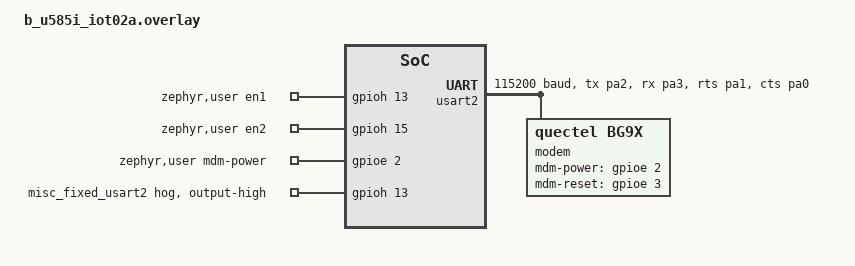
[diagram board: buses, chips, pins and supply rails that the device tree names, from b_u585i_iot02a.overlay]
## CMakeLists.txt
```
# Copyright (c) 2023 Trackunit Corporation
# SPDX-License-Identifier: Apache-2.0

cmake_minimum_required(VERSION 3.20.0)
find_package(Zephyr REQUIRED HINTS $ENV{ZEPHYR_BASE})
project(modem_e2e_test)

target_sources(app PRIVATE src/main.c)
```

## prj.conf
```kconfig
# Copyright (c) 2023 Trackunit Corporation
# SPDX-License-Identifier: Apache-2.0

CONFIG_ZTEST=y
CONFIG_ZTEST_NEW_API=y

CONFIG_ASSERT=y

# Networking
CONFIG_NETWORKING=y
CONFIG_NET_NATIVE=y
CONFIG_NET_L2_PPP=y
CONFIG_NET_IPV4=y
CONFIG_NET_UDP=y
CONFIG_NET_SOCKETS=y
CONFIG_POSIX_MAX_FDS=8

# Logging
CONFIG_LOG=y
CONFIG_LOG_DEFAULT_LEVEL=3

# Network management
CONFIG_NET_MGMT=y
CONFIG_NET_MGMT_EVENT=y
CONFIG_NET_CONNECTION_MANAGER=y

CONFIG_MODEM=y
CONFIG_MODEM_MODULES=y
CONFIG_MODEM_CELLULAR_APN="trackunit.m2m"

CONFIG_GPIO=y
CONFIG_UART_STM32=y
CONFIG_UART_INTERRUPT_DRIVEN=y
CONFIG_UART_ASYNC_API=y
```

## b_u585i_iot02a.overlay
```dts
/ {
	aliases {
		modem-uart = &usart2;
		modem = &modem;
	};

	zephyr,user {
		en1-gpios = <&gpioh 13 GPIO_ACTIVE_HIGH>;
		en2-gpios = <&gpioh 15 GPIO_ACTIVE_HIGH>;
		mdm-power-gpios = <&gpioe 2 GPIO_ACTIVE_HIGH>;
	};
};

&gpioh {
	misc_fixed_usart2 {
		gpio-hog;
		gpios = <13 GPIO_ACTIVE_HIGH>;
		output-high;
	};
};

&gpdma1 {
	status = "okay";
};

/* BG95 */
&usart2 {
	pinctrl-0 = <&usart2_tx_pa2 &usart2_rx_pa3 &usart2_rts_pa1 &usart2_cts_pa0>;
	pinctrl-names = "default";
	current-speed = <115200>;
	hw-flow-control;

	dmas = <&gpdma1 0 27 STM32_DMA_PERIPH_TX
		&gpdma1 1 26 STM32_DMA_PERIPH_RX>;
	dma-names = "tx", "rx";

	status = "okay";

	modem: modem {
		compatible = "quectel,bg9x";
		mdm-power-gpios = <&gpioe 2 GPIO_ACTIVE_HIGH>;
		mdm-reset-gpios = <&gpioe 3 GPIO_ACTIVE_HIGH>;
		status = "okay";
	};
};
```

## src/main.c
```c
/*
 * Copyright (c) 2022 Trackunit Corporation
 *
 * SPDX-License-Identifier: Apache-2.0
 */

/*************************************************************************************************/
/*                                        Dependencies                                           */
/*************************************************************************************************/
#include <zephyr/ztest.h>
#include <zephyr/kernel.h>
#include <zephyr/net/ppp.h>
#include <zephyr/net/socket.h>
#include <zephyr/net/net_if.h>

#include <string.h>

/*************************************************************************************************/
/*                                         Definitions                                           */
/*************************************************************************************************/
#warning "Configure the following before running the test"
#define TEST_MODEM_E2E_SERVER_IP_ADDR ""

#define TEST_MODEM_E2E_SERVER_UPLOAD_PORT	(7777)
#define TEST_MODEM_E2E_SERVER_ECHO_PORT		(7778)
#define TEST_MODEM_E2E_SERVER_DOWNLOAD_PORT	(7779)

#define TEST_MODEM_E2E_TEST_PKT_CNT		(100)
#define TEST_MODEM_E2E_TEST_PKT_SIZE		(1024)

/*************************************************************************************************/
/*                             Psudo random packet datagenerator                                 */
/*************************************************************************************************/
static uint8_t test_packet_data[TEST_MODEM_E2E_TEST_PKT_SIZE];
static uint32_t prng_state = 1234;
static uint8_t recv_buf[TEST_MODEM_E2E_TEST_PKT_SIZE];

static uint8_t test_modem_e2e_prng_random(void)
{
	prng_state = ((1103515245 * prng_state) + 12345) % (1U << 31);

	return (uint8_t)(prng_state & 0xFF);
}

static void test_modem_e2e_init_test_packet_data(void)
{
	for (size_t i = 0; i < sizeof(test_packet_data); i++) {
		test_packet_data[i] = test_modem_e2e_prng_random();
	}
}

static bool test_modem_e2e_validate_recv_buf(void)
{
	for (size_t i = 0; i < sizeof(test_packet_data); i++) {
		if (test_packet_data[i] != recv_buf[i]) {
			return false;
		}
	}

	return true;
}

static int socket_fd;
static struct sockaddr_in socket_addr;

/*************************************************************************************************/
/*                                         Test setup                                            */
/*************************************************************************************************/
static void *test_modem_e2e_setup(void)
{
	uint32_t raised_event;
	const void *info;
	size_t info_len;
	int ret;

	printk("Waiting for L4 connected\n");

	ret = net_mgmt_event_wait_on_iface(net_if_get_first_by_type(&NET_L2_GET_NAME(PPP)),
					   NET_EVENT_L4_CONNECTED, &raised_event, &info,
					   &info_len, K_SECONDS(30));

	__ASSERT(ret == 0, "L4 was not connected in time");

	test_modem_e2e_init_test_packet_data();

	printk("Opening socket\n");

	socket_fd = zsock_socket(AF_INET, SOCK_DGRAM, IPPROTO_UDP);

	__ASSERT_NO_MSG(socket_fd > -1);

	printk("Socket opened\n");

	return NULL;
}

static void test_modem_e2e_socket_set_destination(const char *addr, int16_t port)
{
	memset(&socket_addr, 0, sizeof(socket_addr));

	socket_addr.sin_family = AF_INET;
	socket_addr.sin_port = htons(port);
	zsock_inet_pton(AF_INET, addr, &socket_addr.sin_addr);
}

static bool test_modem_e2e_socket_send(void)
{
	int ret = zsock_sendto(socket_fd, test_packet_data, sizeof(test_packet_data), 0,
			       (struct sockaddr *)&socket_addr, sizeof(socket_addr));

	return (ret == sizeof(test_packet_data));
}

static bool test_modem_e2e_socket_recv(void)
{
	int ret = zsock_recv(socket_fd, recv_buf, sizeof(recv_buf), 0);

	return ret == sizeof(recv_buf);
}

/*************************************************************************************************/
/*                                             Tests                                             */
/*************************************************************************************************/
ZTEST(modem_e2e, send)
{
	test_modem_e2e_socket_set_destination(TEST_MODEM_E2E_SERVER_IP_ADDR,
					      TEST_MODEM_E2E_SERVER_UPLOAD_PORT);

	for (size_t i = 0; i < TEST_MODEM_E2E_TEST_PKT_CNT; i++) {
		zassert_true(test_modem_e2e_socket_send(),
			     "Failed to send test packet data");

		printk("sent %u frame\n", (i + 1));
	}
}

ZTEST(modem_e2e, echo)
{
	test_modem_e2e_socket_set_destination(TEST_MODEM_E2E_SERVER_IP_ADDR,
					      TEST_MODEM_E2E_SERVER_ECHO_PORT);

	for (size_t i = 0; i < TEST_MODEM_E2E_TEST_PKT_CNT; i++) {
		zassert_true(test_modem_e2e_socket_send(),
			     "Failed to send test packet data");

		printk("sent %u frame\n", (i + 1));

		zassert_true(test_modem_e2e_socket_recv(), "Failed to receive packet");

		zassert_true(test_modem_e2e_validate_recv_buf(), "Invalid packet data received");

		printk("received %u frames\n", (i + 1));
	}
}

ZTEST(modem_e2e, download)
{
	uint32_t uptime;

	test_modem_e2e_socket_set_destination(TEST_MODEM_E2E_SERVER_IP_ADDR,
					      TEST_MODEM_E2E_SERVER_DOWNLOAD_PORT);

	zassert_true(test_modem_e2e_socket_send(),
			"Failed to send test packet data");

	for (size_t i = 0; i < TEST_MODEM_E2E_TEST_PKT_CNT; i++) {
		uptime = k_uptime_get_32();
		printk("wait for frame\n");
		zassert_true(test_modem_e2e_socket_recv(), "Failed to receive packet");
		printk("waited for %ums\n", k_uptime_get_32() - uptime);
		uptime = k_uptime_get_32();
		printk("validate frame\n");
		zassert_true(test_modem_e2e_validate_recv_buf(), "Invalid packet data received");
		printk("validate took %ums\n", k_uptime_get_32() - uptime);
		printk("received %u frames\n", (i + 1));
	}
}

ZTEST_SUITE(modem_e2e, NULL, test_modem_e2e_setup, NULL, NULL, NULL);
```
